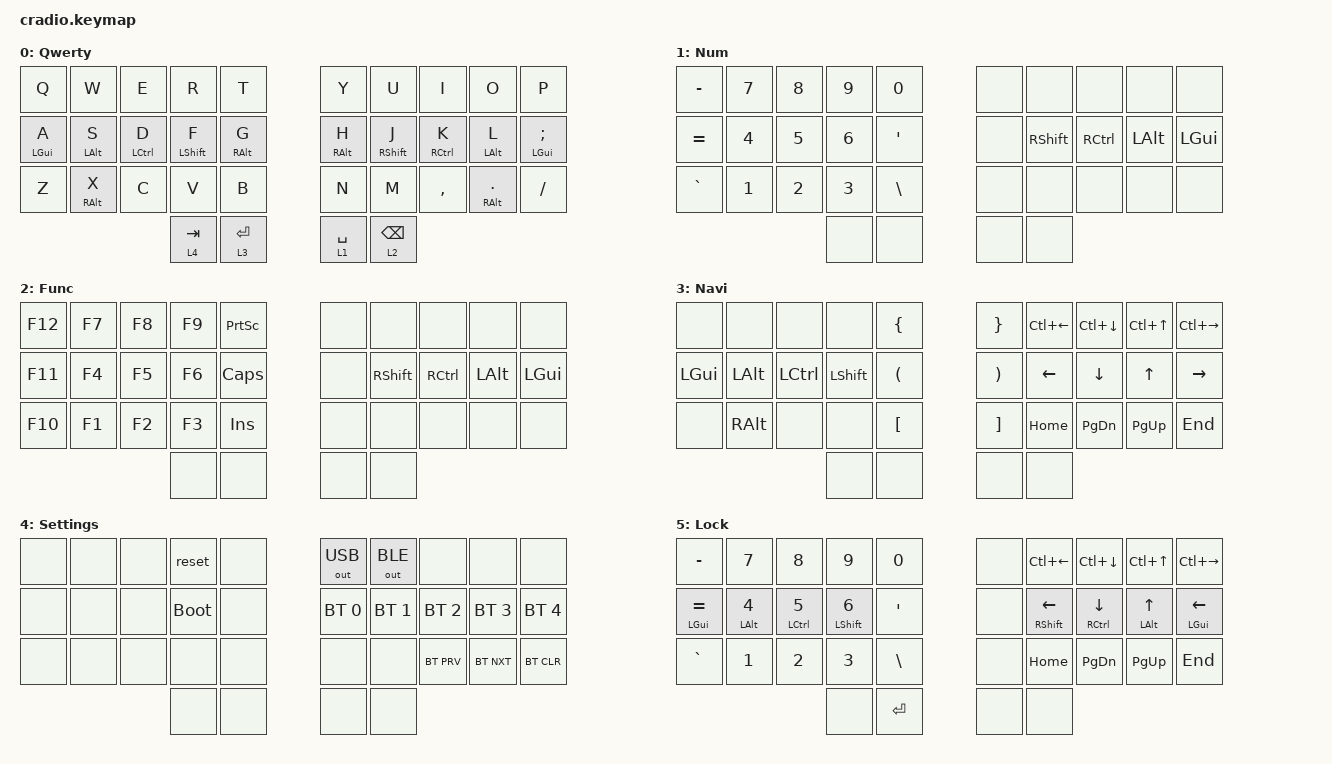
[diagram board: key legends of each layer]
/*
 * Copyright (c) 2020 The ZMK Contributors, 2022 dreipunkteinsvier
 *
 * SPDX-License-Identifier: MIT
 */

#include <behaviors.dtsi>
#include <dt-bindings/zmk/keys.h>
#include <dt-bindings/zmk/bt.h>
#include <dt-bindings/zmk/outputs.h>

#define NUM 1
#define FUN 2
#define NAV 3
#define SET 4
#define LOC 5

&lt {
	quick_tap_ms = <200>;
};

&caps_word {
	continue-list = <UNDERSCORE MINUS>;
};

/ {
	behaviors {
		hm: homerow_mods {
			compatible = "zmk,behavior-hold-tap";
			label = "homerow mods";
			#binding-cells = <2>;
			tapping_term_ms = <100>;
			quick_tap_ms = <200>;
			flavor = "tap-preferred";
			global-quick-tap;
			bindings = <&kp>, <&kp>;
		};

		hl: homerow_mods_left {
			compatible = "zmk,behavior-hold-tap";
			label = "homerow mods left";
			#binding-cells = <2>;
			flavor = "tap-preferred";
			tapping-term-ms = <100>;
			quick-tap-ms = <200>;
			global-quick-tap;
			bindings = <&kp>, <&kp>;
			// opposite side hand keys
			hold-trigger-key-positions = <5 6 7 8 9 15 16 17 18 19 25 26 27 28 29>;
		};

		hr: homerow_mods_right {
			compatible = "zmk,behavior-hold-tap";
			label = "homerow mods right";
			#binding-cells = <2>;
			flavor = "tap-preferred";
			tapping-term-ms = <100>;
			quick-tap-ms = <200>;
			global-quick-tap;
			bindings = <&kp>, <&kp>;
			// opposite side hand keys
			hold-trigger-key-positions = <0 1 2 3 4 10 11 12 13 14 20 21 22 23 24>;
		};

		hs: homerow_mods_shift {
			compatible = "zmk,behavior-hold-tap";
			label = "homerow mods shift";
			#binding-cells = <2>;
			flavor = "balanced";
			tapping-term-ms = <200>;
			quick-tap-ms = <100>;
			bindings = <&kp>, <&kp>;
		};
	};
	
	keymap {
		compatible = "zmk,keymap";
		
		default {
			label = "Qwerty";
//  _____________________________       _____________________________
// /  Q  |  W  |  E  |  R  |  T  \     /  Y  |  U  |  I  |  O  |  P  \
// |  A  |  S  |  D  |  F  |  G  |     |  H  |  J  |  K  |  L  |  ;  |
// |  Z  |  X  |  C  |  V  |  B  |     |  N  |  M  |  ,  |  .  |  /  |
//         \ Set/Tab |  Nav/Ent  /     \  Num/Spc  | Fun/Bspc /
//          ---------------------       --------------------
			bindings = <
			&kp Q		&kp W		&kp E		&kp R   	&kp T				&kp Y		&kp U		&kp I		&kp O			&kp P
			&hl LGUI A	&hl LALT S	&hl LCTRL D	&hs LSHFT F	&hm RALT G			&hm RALT H	&hs RSHFT J	&hr RCTRL K	&hr LALT L		&hr LGUI SEMI
			&kp Z		&hm RALT X	&kp C		&kp V   	&kp B				&kp N		&kp M		&kp COMMA	&hm RALT DOT	&kp FSLH
												&lt 4 TAB	&lt 3 RET			&lt 1 SPACE	&lt 2 BSPC
			>;
		};

		numbers {
			label = "Num";
//  _____________________________       _____________________________
// /  -  |  7  |  8  |  9  |  0  \     /     |     |     |     |     \
// |  =  |  4  |  5  |  6  |  '  |     |     | SHFT| CTRL| ALT | GUI |
// |  `  |  1  |  2  |  3  |  \  |     |     |     |     |     |     |
//         \         |           /     \           |         /
//          ---------------------       --------------------
			bindings = <
			&kp MINUS	&kp N7	&kp N8	&kp N9	&kp N0				&none	&none		&none		&none		&none
			&kp EQUAL	&kp N4	&kp N5	&kp N6	&kp SQT				&none	&kp RSHFT	&kp RCTRL	&kp LALT	&kp LGUI
			&kp GRAVE	&kp N1	&kp N2	&kp N3	&kp BSLH			&none	&none		&none		&none		&none
										&none	&none				&none	&none
			>;
		};
		
		functions {
			label = "Func";
//  _____________________________       _____________________________
// / F12 | F7  | F8  | F9  | PRT \     /     |     |     |     |     \
// | F11 | F4  | F5  | F6  | CAPS|     |     | SHFT| CTRL| ALT | GUI |
// | F10 | F1  | F2  | F3  | INS |     |     |     |     |     |     |
//         \         |           /     \           |          /
//          ---------------------       --------------------
			bindings = <
			&kp F12	&kp F7	&kp F8	&kp F9	&kp PSCRN			&none	&none		&none		&none		&none
			&kp F11	&kp F4	&kp F5	&kp F6	&kp CAPS			&none	&kp RSHFT	&kp RCTRL	&kp LALT	&kp LGUI
			&kp F10	&kp F1	&kp F2	&kp F3	&kp INS				&none	&none		&none		&none		&none
									&none	&none				&none	&none
			>;
		};

		navigation {
			label = "Navi";
//  _____________________________       _____________________________
// /     |     |     |     |  {  \     /  }  |     |     |     |     \
// | GUI | ALT | CTRL| SHFT|  (  |     |  )  |  <  |  ^  |  ^  |  >  |
// |     |     |     |     |  [  |     |  ]  | HOME| PGDN| PGUP| END |
//         \         |           /     \           |          /
//          ---------------------       --------------------
			bindings = <
			&none		&none		&none		&none		&kp	LBRC			&kp	RBRC	&kp LC(LEFT)	&kp LC(DOWN)	&kp LC(UP)	&kp LC(RIGHT)
			&kp LGUI	&kp LALT	&kp LCTRL	&kp LSHFT	&kp LPAR			&kp RPAR	&kp LEFT		&kp DOWN		&kp UP		&kp RIGHT
			&none		&kp RALT	&none		&none		&kp LBKT			&kp RBKT	&kp HOME		&kp PG_DN		&kp PG_UP	&kp END
												&none		&none				&none		&none
			>;
		};

		settings {
			label = "Settings";
//  _____________________________       _____________________________
// /  0  |  1  |  2  |  3  |  4  \     /   5 |   6 |   7 |   8 |  9  \
// | 10  | 11  | 12  | 13  | 14  |     |  15 |  16 |  17 |  18 | 19  |
// | 20  | 21  | 22  | 23  | 24  |     |  25 |  26 |  27 |  28 | 29  |
//          \   30   |    31     /     \     32    |  33    /
//           --------------------       ---------------------
			bindings = <
			&none	&none	&none	&reset		&none			&out OUT_USB	&out OUT_BLE	&none			&none			&none
			&none	&none	&none	&bootloader	&none			&bt BT_SEL 0	&bt BT_SEL 1	&bt BT_SEL 2	&bt BT_SEL 3	&bt BT_SEL 4
			&none	&none	&none	&none		&none			&none			&none			&bt BT_PRV		&bt BT_NXT		&bt BT_CLR
									&none		&none			&none			&none
			>;
		};

		locklayer {
			label = "Lock";
//  _____________________________       _____________________________
// /  -  |  7  |  8  |  9  |  0  \     /     |     |     |     |     \
// |  =  |  4  |  5  |  6  |  '  |     |     |  <  |  ^  |  ^  |  >  |
// |  `  |  1  |  2  |  3  |  \  |     |     | HOME| PGDN| PGUP| END |
//         \         |           /     \           |         /
//          ---------------------       --------------------
			bindings = <
			&kp MINUS		&kp N7		&kp N8			&kp N9			&kp N0				&none	&kp LC(LEFT)	&kp LC(DOWN)	&kp LC(UP)	&kp LC(RIGHT)
			&hm LGUI EQUAL	&hm LALT N4	&hm LCTRL N5	&hm LSHFT N6	&kp SQT				&none	&hm RSHFT LEFT	&hm RCTRL DOWN	&hm LALT UP	&hm LGUI LEFT
			&kp GRAVE		&kp N1		&kp N2			&kp N3			&kp BSLH			&none	&kp HOME		&kp PG_DN		&kp PG_UP	&kp END
														&none			&kp RET				&none					&none
			>;
		};
	};
};

//  _____________________________       _____________________________
// /  0  |  1  |  2  |  3  |  4  \     /   5 |   6 |   7 |   8 |  9  \
// | 10  | 11  | 12  | 13  | 14  |     |  15 |  16 |  17 |  18 | 19  |
// | 20  | 21  | 22  | 23  | 24  |     |  25 |  26 |  27 |  28 | 29  |
//          \   30   |    31     /     \     32    |  33    /
//           --------------------       ---------------------

/ {
	combos {
		compatible = "zmk,combos";
		combo_esc {
			timeout-ms = <20>;
			key-positions = <11 12>;
			bindings = <&kp ESC>;
		};
		combo_tab {
			timeout-ms = <20>;
			key-positions = <12 13>;
			bindings = <&kp TAB>;
		};
		combo_del {
			timeout-ms = <20>;
			key-positions = <15 16>;
			bindings = <&kp DEL>;
		};
		combo_bspc {
			timeout-ms = <20>;
			key-positions = <16 17>;
			bindings = <&kp BSPC>;
		};
		combo_enter {
			timeout-ms = <20>;
			key-positions = <17 18>;
			bindings = <&kp RET>;
		};
		combo_ae {
			timeout-ms = <20>;
			key-positions = <0 10>;
			bindings = <&kp RA(Q)>;
		};
		combo_oe {
			timeout-ms = <20>;
			key-positions = <8 18>;
			bindings = <&kp RA(P)>; 
		};
		combo_ue {
			timeout-ms = <20>;
			key-positions = <6 16>;
			bindings = <&kp RA(Y)>;
		};
		combo_ss {
			timeout-ms = <20>;
			key-positions = <1 11>;
			bindings = <&kp RA(S)>;
		};
		combo_lockScreen {
			timeout-ms = <20>;
			key-positions = <26 27 28 29>;
			bindings = <&kp LG(L)>;
		};
		combo_caps-word {
			timeout-ms = <20>;
			key-positions = <13 16>;
			bindings = <&caps_word>;
		};
		combo_locklayer {
			timeout-ms = <20>;
			key-positions = <30 33>;
			bindings = <&tog LOC>;
		};
	};
};
